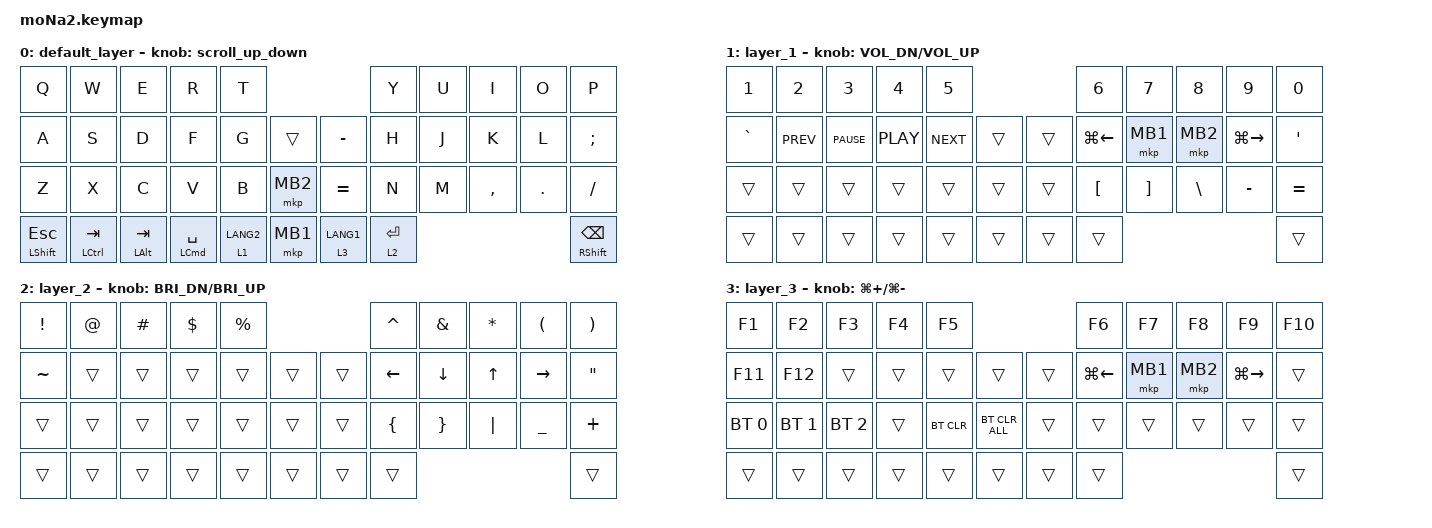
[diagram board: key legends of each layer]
#include <behaviors.dtsi>
#include <dt-bindings/zmk/bt.h>
#include <dt-bindings/zmk/keys.h>
#include <dt-bindings/zmk/pointing.h>
#include <dt-bindings/zmk/pointing.h>

#define ZMK_POINTING_DEFAULT_SCRL_VAL 100
#define MOUSE 4

&mt {
    flavor = "hold-preferred";
    quick-tap-ms = <0>;
};

&lt {
    flavor = "hold-preferred";
    quick-tap-ms = <0>;
};

/ {
    combos { compatible = "zmk,combos"; };

    macros {
        to_layer_0: to_layer_0 {
            compatible = "zmk,behavior-macro-one-param";
            #binding-cells = <1>;
            bindings = <&to 0 &macro_param_1to1 &kp MACRO_PLACEHOLDER>;
            label = "TO_LAYER_0";
        };
    };

    behaviors {
        lt_to_layer_0: lt_to_layer_0 {
            compatible = "zmk,behavior-hold-tap";
            label = "LAYER_TAP_TO_0";
            bindings = <&mo>, <&to_layer_0>;

            #binding-cells = <2>;
            tapping-term-ms = <200>;
        };

        scroll_up_down: behavior_sensor_rotate_mouse_wheel_up_down {
            compatible = "zmk,behavior-sensor-rotate";
            #sensor-binding-cells = <0>;
            bindings = <&msc SCRL_UP>, <&msc SCRL_DOWN>;

            tap-ms = <20>;
        };
    };

    keymap {
        compatible = "zmk,keymap";

        default_layer {
            bindings = <
&kp Q          &kp W          &kp E         &kp R           &kp T                                 &kp Y        &kp U  &kp I      &kp O    &kp P
&kp A          &kp S          &kp D         &kp F           &kp G        &trans      &kp MINUS    &kp H        &kp J  &kp K      &kp L    &kp SEMICOLON
&kp Z          &kp X          &kp C         &kp V           &kp B        &mkp MB2    &kp EQUAL    &kp N        &kp M  &kp COMMA  &kp DOT  &kp SLASH
&mt LSHFT ESC  &mt LCTRL TAB  &mt LALT TAB  &mt LCMD SPACE  &lt 1 LANG2  &mkp MB1    &lt 3 LANG1  &lt 2 ENTER                             &mt RSHFT BSPC
            >;

            sensor-bindings = <&scroll_up_down>;
        };

        layer_1 {
            bindings = <
&kp N1     &kp N2      &kp N3       &kp N4      &kp N5                        &kp N6        &kp N7    &kp N8    &kp N9         &kp N0
&kp GRAVE  &kp C_PREV  &kp C_PAUSE  &kp C_PLAY  &kp C_NEXT  &trans    &trans  &kp LG(LEFT)  &mkp MB1  &mkp MB2  &kp LG(RIGHT)  &kp SQT
&trans     &trans      &trans       &trans      &trans      &trans    &trans  &kp LBKT      &kp RBKT  &kp BSLH  &kp MINUS      &kp EQUAL
&trans     &trans      &trans       &trans      &trans      &trans    &trans  &trans                                           &trans
            >;

            sensor-bindings = <&inc_dec_kp C_VOL_DN C_VOL_UP>;
        };

        layer_2 {
            bindings = <
&kp EXCL   &kp AT  &kp HASH  &kp DLLR  &kp PRCNT                    &kp CARET  &kp AMPS  &kp STAR  &kp LPAR   &kp RPAR
&kp TILDE  &trans  &trans    &trans    &trans     &trans    &trans  &kp LEFT   &kp DOWN  &kp UP    &kp RIGHT  &kp DQT
&trans     &trans  &trans    &trans    &trans     &trans    &trans  &kp LBRC   &kp RBRC  &kp PIPE  &kp UNDER  &kp PLUS
&trans     &trans  &trans    &trans    &trans     &trans    &trans  &trans                                    &trans
            >;

            sensor-bindings = <&inc_dec_kp C_BRI_DN C_BRI_UP>;
        };

        layer_3 {
            bindings = <
&kp F1        &kp F2        &kp F3        &kp F4  &kp F5                                &kp F6        &kp F7    &kp F8    &kp F9         &kp F10
&kp F11       &kp F12       &trans        &trans  &trans      &trans            &trans  &kp LG(LEFT)  &mkp MB1  &mkp MB2  &kp LG(RIGHT)  &trans
&bt BT_SEL 0  &bt BT_SEL 1  &bt BT_SEL 2  &trans  &bt BT_CLR  &bt BT_CLR_ALL    &trans  &trans        &trans    &trans    &trans         &trans
&trans        &trans        &trans        &trans  &trans      &trans            &trans  &trans                                           &trans
            >;

            sensor-bindings = <&inc_dec_kp LG(PLUS) LG(MINUS)>;
        };
    };
};
